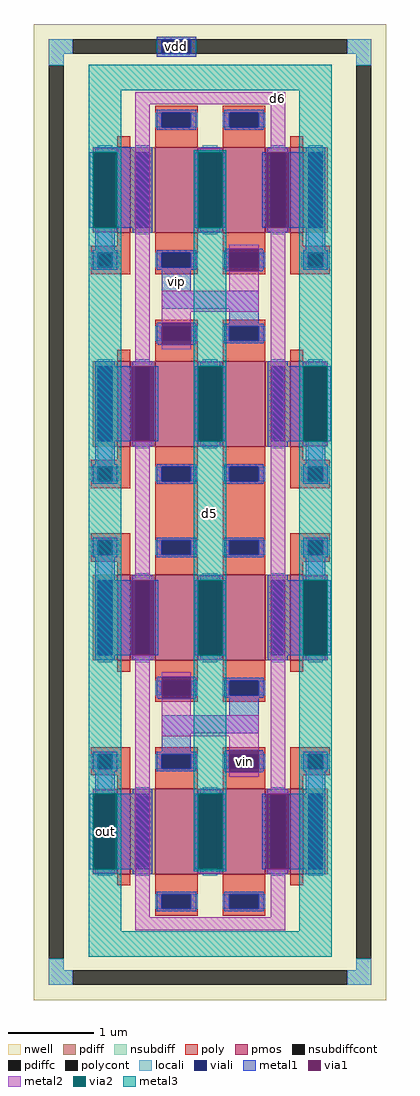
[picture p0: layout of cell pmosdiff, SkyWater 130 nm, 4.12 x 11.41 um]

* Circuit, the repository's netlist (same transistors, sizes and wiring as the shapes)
** sch_path: /home/jevon/opamp/mag/pmosdiff.sch
.subckt pmosdiff VIN VIP D6 D5 VDD OUT
*.PININFO VIN:I VIP:I D6:B D5:B VDD:B OUT:B
XM6 D6 VIN D5 VDD sky130_fd_pr__pfet_01v8 L=0.5 W=1 nf=1 m=4
XM7 OUT VIP D5 VDD sky130_fd_pr__pfet_01v8 L=0.5 W=1 nf=1 m=4
XM1 D6 D6 D6 VDD sky130_fd_pr__pfet_01v8 L=0.15 W=1 nf=1 m=4
XM2 OUT OUT OUT VDD sky130_fd_pr__pfet_01v8 L=0.15 W=1 nf=1 m=4
.ends
.end

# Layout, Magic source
magic
tech sky130A
magscale 1 2
<< nwell >>
rect -243 -1747 582 535
<< nsubdiff >>
rect -207 465 -151 499
rect 490 465 546 499
rect -207 439 -173 465
rect 512 439 546 465
rect -207 -1677 -173 -1651
rect 512 -1677 546 -1651
rect -207 -1711 -151 -1677
rect 490 -1711 546 -1677
<< nsubdiffcont >>
rect -151 465 490 499
rect -207 -1651 -173 439
rect 512 -1651 546 439
rect -151 -1711 490 -1677
<< poly >>
rect -47 16 -17 47
rect -109 0 -17 16
rect -109 -34 -93 0
rect -59 -34 -17 0
rect -109 -50 -17 -34
rect 357 16 387 47
rect 357 0 449 16
rect 357 -34 399 0
rect 433 -34 449 0
rect 357 -50 449 -34
rect -47 -484 -17 -453
rect -109 -500 -17 -484
rect -109 -534 -93 -500
rect -59 -534 -17 -500
rect -109 -550 -17 -534
rect 357 -484 387 -453
rect 357 -500 449 -484
rect 357 -534 399 -500
rect 433 -534 449 -500
rect 357 -550 449 -534
rect -109 -672 -17 -656
rect 41 -657 141 -550
rect 199 -657 299 -550
rect -109 -706 -93 -672
rect -59 -706 -17 -672
rect -109 -722 -17 -706
rect -47 -753 -17 -722
rect 357 -672 449 -656
rect 357 -706 399 -672
rect 433 -706 449 -672
rect 357 -722 449 -706
rect 357 -753 387 -722
rect -109 -1172 -17 -1156
rect -109 -1206 -93 -1172
rect -59 -1206 -17 -1172
rect -109 -1222 -17 -1206
rect -47 -1253 -17 -1222
rect 357 -1172 449 -1156
rect 357 -1206 399 -1172
rect 433 -1206 449 -1172
rect 357 -1222 449 -1206
rect 357 -1253 387 -1222
<< polycont >>
rect -93 -34 -59 0
rect 399 -34 433 0
rect -93 -534 -59 -500
rect 399 -534 433 -500
rect -93 -706 -59 -672
rect 399 -706 433 -672
rect -93 -1206 -59 -1172
rect 399 -1206 433 -1172
<< locali >>
rect -207 465 -151 499
rect 490 465 546 499
rect -207 439 -173 465
rect 512 439 546 465
rect -93 0 -59 47
rect 399 0 433 59
rect -109 -34 -93 0
rect -59 -34 -43 0
rect 383 -34 399 0
rect 433 -34 449 0
rect -93 -500 -59 -453
rect 399 -500 433 -453
rect -109 -534 -93 -500
rect -59 -534 -43 -500
rect 383 -534 399 -500
rect 433 -534 449 -500
rect -109 -706 -93 -672
rect -59 -706 -43 -672
rect 383 -706 399 -672
rect 433 -706 449 -672
rect -93 -753 -59 -706
rect 399 -753 433 -706
rect -109 -1206 -93 -1172
rect -59 -1206 -43 -1172
rect 383 -1206 399 -1172
rect 433 -1206 449 -1172
rect -93 -1253 -59 -1206
rect 399 -1253 433 -1206
rect -207 -1677 -173 -1651
rect 512 -1677 546 -1651
rect -207 -1711 -151 -1677
rect 490 -1711 546 -1677
<< viali >>
rect 57 465 125 499
rect -93 -34 -59 0
rect 399 -34 433 0
rect -93 -534 -59 -500
rect 399 -534 433 -500
rect -93 -706 -59 -672
rect 399 -706 433 -672
rect -93 -1206 -59 -1172
rect 399 -1206 433 -1172
<< metal1 >>
rect 45 499 137 505
rect 45 465 57 499
rect 125 465 137 499
rect 45 459 137 465
rect -59 235 -5 247
rect -112 59 -102 235
rect -50 59 29 235
rect 134 59 144 235
rect 196 59 206 235
rect 292 59 302 235
rect 354 59 433 235
rect -99 6 -53 47
rect -105 0 -47 6
rect -105 -34 -93 0
rect -59 -34 -47 0
rect -105 -40 -47 -34
rect 57 -89 125 -34
rect 205 -43 215 9
rect 283 -43 293 9
rect 393 6 439 59
rect 387 0 445 6
rect 387 -34 399 0
rect 433 -34 445 0
rect 387 -40 445 -34
rect 57 -131 283 -89
rect 47 -215 57 -163
rect 125 -215 135 -163
rect 215 -172 283 -131
rect -93 -441 -14 -265
rect 38 -441 48 -265
rect 134 -441 144 -265
rect 196 -441 206 -265
rect 311 -441 390 -265
rect 442 -441 452 -265
rect -99 -494 -53 -453
rect 393 -494 439 -453
rect -105 -500 -47 -494
rect -105 -534 -93 -500
rect -59 -534 -47 -500
rect -105 -540 -47 -534
rect 387 -500 445 -494
rect 387 -534 399 -500
rect 433 -534 445 -500
rect 387 -540 445 -534
rect -105 -672 -47 -666
rect -105 -706 -93 -672
rect -59 -706 -47 -672
rect -105 -712 -47 -706
rect 387 -672 445 -666
rect 387 -706 399 -672
rect 433 -706 445 -672
rect 387 -712 445 -706
rect -99 -753 -53 -712
rect 393 -753 439 -712
rect -93 -941 -14 -765
rect 38 -941 48 -765
rect 134 -941 144 -765
rect 196 -941 206 -765
rect 311 -941 390 -765
rect 442 -941 452 -765
rect 47 -1043 57 -991
rect 125 -1043 135 -991
rect 215 -1081 283 -1034
rect 57 -1123 283 -1081
rect -105 -1172 -47 -1166
rect 57 -1172 125 -1123
rect -105 -1206 -93 -1172
rect -59 -1206 -47 -1172
rect -105 -1212 -47 -1206
rect -99 -1253 -53 -1212
rect 205 -1215 215 -1163
rect 283 -1215 293 -1163
rect 387 -1172 445 -1166
rect 387 -1206 399 -1172
rect 433 -1206 445 -1172
rect 387 -1212 445 -1206
rect 393 -1253 439 -1212
rect -112 -1441 -102 -1265
rect -50 -1441 29 -1265
rect 134 -1441 144 -1265
rect 196 -1441 206 -1265
rect 292 -1441 302 -1265
rect 354 -1441 433 -1265
<< via1 >>
rect -102 59 -50 235
rect 144 59 196 235
rect 302 59 354 235
rect 215 -43 283 9
rect 57 -215 125 -163
rect -14 -441 38 -265
rect 144 -441 196 -265
rect 390 -441 442 -265
rect -14 -941 38 -765
rect 144 -941 196 -765
rect 390 -941 442 -765
rect 57 -1043 125 -991
rect 215 -1215 283 -1163
rect -102 -1441 -50 -1265
rect 144 -1441 196 -1265
rect 302 -1441 354 -1265
<< metal2 >>
rect -5 347 345 376
rect -104 235 -48 245
rect -104 49 -48 59
rect -5 -255 29 347
rect 311 245 345 347
rect 142 235 198 245
rect 142 49 198 59
rect 302 235 354 245
rect 302 49 354 59
rect 215 9 283 19
rect 215 -89 283 -43
rect 57 -138 283 -89
rect 57 -163 125 -138
rect 57 -225 125 -215
rect -14 -265 38 -255
rect -14 -451 38 -441
rect 142 -265 198 -255
rect 142 -451 198 -441
rect -5 -755 29 -451
rect -14 -765 38 -755
rect -14 -951 38 -941
rect 142 -765 198 -755
rect 142 -951 198 -941
rect -104 -1265 -48 -1255
rect -104 -1451 -48 -1441
rect -5 -1553 29 -951
rect 57 -991 125 -981
rect 57 -1081 125 -1043
rect 57 -1130 283 -1081
rect 215 -1163 283 -1130
rect 215 -1225 283 -1215
rect 311 -1255 345 49
rect 388 -265 444 -255
rect 388 -451 444 -441
rect 388 -765 444 -755
rect 388 -951 444 -941
rect 142 -1265 198 -1255
rect 142 -1451 198 -1441
rect 302 -1265 354 -1255
rect 302 -1451 354 -1441
rect 311 -1553 345 -1451
rect -5 -1584 345 -1553
<< via2 >>
rect -104 59 -102 235
rect -102 59 -50 235
rect -50 59 -48 235
rect 142 59 144 235
rect 144 59 196 235
rect 196 59 198 235
rect 142 -441 144 -265
rect 144 -441 196 -265
rect 196 -441 198 -265
rect 142 -941 144 -765
rect 144 -941 196 -765
rect 196 -941 198 -765
rect -104 -1441 -102 -1265
rect -102 -1441 -50 -1265
rect -50 -1441 -48 -1265
rect 388 -441 390 -265
rect 390 -441 442 -265
rect 442 -441 444 -265
rect 388 -941 390 -765
rect 390 -941 442 -765
rect 442 -941 444 -765
rect 142 -1441 144 -1265
rect 144 -1441 196 -1265
rect 196 -1441 198 -1265
<< metal3 >>
rect -114 380 454 440
rect -114 235 -38 380
rect -114 59 -104 235
rect -48 59 -38 235
rect -114 -1265 -38 59
rect -114 -1441 -104 -1265
rect -48 -1441 -38 -1265
rect -114 -1586 -38 -1441
rect 132 235 208 240
rect 132 59 142 235
rect 198 59 208 235
rect 132 -265 208 59
rect 132 -441 142 -265
rect 198 -441 208 -265
rect 132 -765 208 -441
rect 132 -941 142 -765
rect 198 -941 208 -765
rect 132 -1265 208 -941
rect 132 -1441 142 -1265
rect 198 -1441 208 -1265
rect 132 -1446 208 -1441
rect 378 -265 454 380
rect 378 -441 388 -265
rect 444 -441 454 -265
rect 378 -765 454 -441
rect 378 -941 388 -765
rect 444 -941 454 -765
rect 378 -1586 454 -941
rect -114 -1646 454 -1586
use sky130_fd_pr__pfet_01v8_2XUZHN  sky130_fd_pr__pfet_01v8_2XUZHN_0
transform 1 0 -32 0 1 147
box -109 -162 109 162
use sky130_fd_pr__pfet_01v8_2XUZHN  sky130_fd_pr__pfet_01v8_2XUZHN_1
transform 1 0 372 0 1 -853
box -109 -162 109 162
use sky130_fd_pr__pfet_01v8_2XUZHN  sky130_fd_pr__pfet_01v8_2XUZHN_2
transform 1 0 372 0 1 147
box -109 -162 109 162
use sky130_fd_pr__pfet_01v8_2XUZHN  sky130_fd_pr__pfet_01v8_2XUZHN_3
transform 1 0 -32 0 1 -353
box -109 -162 109 162
use sky130_fd_pr__pfet_01v8_2XUZHN  sky130_fd_pr__pfet_01v8_2XUZHN_4
transform 1 0 372 0 1 -353
box -109 -162 109 162
use sky130_fd_pr__pfet_01v8_2XUZHN  sky130_fd_pr__pfet_01v8_2XUZHN_5
transform 1 0 -32 0 1 -853
box -109 -162 109 162
use sky130_fd_pr__pfet_01v8_2XUZHN  sky130_fd_pr__pfet_01v8_2XUZHN_6
transform 1 0 -32 0 1 -1353
box -109 -162 109 162
use sky130_fd_pr__pfet_01v8_2XUZHN  sky130_fd_pr__pfet_01v8_2XUZHN_7
transform 1 0 372 0 1 -1353
box -109 -162 109 162
use sky130_fd_pr__pfet_01v8_BHVYY6  sky130_fd_pr__pfet_01v8_BHVYY6_0
transform 1 0 170 0 1 -1353
box -223 -200 223 200
use sky130_fd_pr__pfet_01v8_BHVYY6  sky130_fd_pr__pfet_01v8_BHVYY6_1
transform 1 0 170 0 1 147
box -223 -200 223 200
use sky130_fd_pr__pfet_01v8_BHVYY6  sky130_fd_pr__pfet_01v8_BHVYY6_2
transform 1 0 170 0 1 -353
box -223 -200 223 200
use sky130_fd_pr__pfet_01v8_BHVYY6  sky130_fd_pr__pfet_01v8_BHVYY6_3
transform 1 0 170 0 1 -853
box -223 -200 223 200
<< labels >>
flabel viali 91 482 91 482 0 FreeSans 480 0 0 0 vdd
port 0 nsew
flabel metal2 327 361 327 361 0 FreeSans 480 0 0 0 d6
port 1 nsew
flabel via2 -76 -1354 -76 -1354 0 FreeSans 480 0 0 0 out
port 3 nsew
flabel via1 249 -1189 249 -1189 0 FreeSans 480 0 0 0 vin
port 4 nsew
flabel metal1 91 -68 91 -68 0 FreeSans 480 0 0 0 vip
port 5 nsew
flabel metal3 169 -609 169 -609 0 FreeSans 480 0 0 0 d5
port 6 nsew
<< end >>

# cell sky130_fd_pr__pfet_01v8_2XUZHN: kit device sky130_fd_pr__pfet_01v8, w 1 l 0.15 m 1 nf 1 diffcov 100 polycov 100 guard 0 glc 1 grc 1 gtc 1 gbc 1 tbcov 100 rlcov 100 topc 0 botc 0 poverlap 0 doverlap 1 lmin 0.15 wmin 0.42 compatible {sky130_fd_pr__pfet_01v8 sky130_fd_pr__pfet_01v8_lvt sky130_fd_pr__pfet_01v8_hvt sky130_fd_pr__pfet_g5v0d10v5} full_metal 1 viasrc 100 viadrn 100 viagate 100 viagb 0 viagr 0 viagl 0 viagt 0

# cell sky130_fd_pr__pfet_01v8_BHVYY6: kit device sky130_fd_pr__pfet_01v8, w 1 l 0.5 m 1 nf 2 diffcov 100 polycov 100 guard 0 glc 1 grc 1 gtc 1 gbc 1 tbcov 100 rlcov 100 topc 1 botc 1 poverlap 0 doverlap 1 lmin 0.15 wmin 0.42 compatible {sky130_fd_pr__pfet_01v8 sky130_fd_pr__pfet_01v8_lvt sky130_fd_pr__pfet_01v8_hvt sky130_fd_pr__pfet_g5v0d10v5} full_metal 1 viasrc 100 viadrn 100 viagate 100 viagb 0 viagr 0 viagl 0 viagt 0
